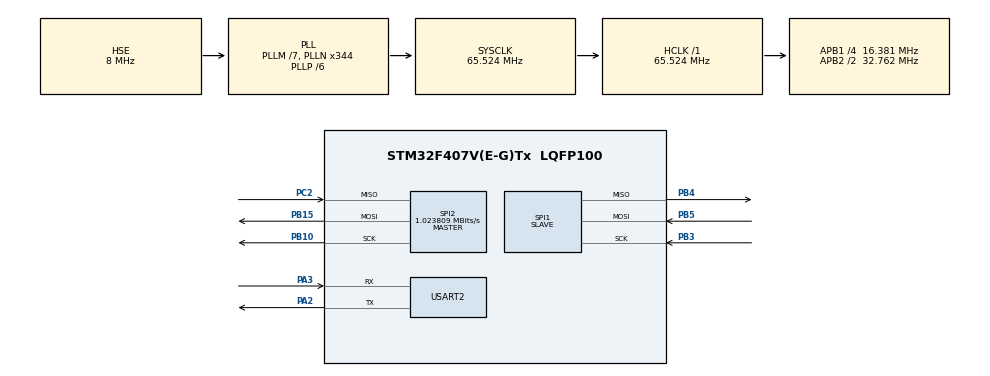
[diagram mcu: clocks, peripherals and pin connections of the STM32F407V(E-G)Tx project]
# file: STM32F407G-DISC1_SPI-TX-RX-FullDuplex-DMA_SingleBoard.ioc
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Dma.Request0=SPI2_RX
Dma.Request1=SPI2_TX
Dma.Request2=SPI1_TX
Dma.Request3=SPI1_RX
Dma.SPI1_RX.3.Direction=DMA_PERIPH_TO_MEMORY
Dma.SPI1_RX.3.FIFOMode=DMA_FIFOMODE_DISABLE
Dma.SPI1_RX.3.Instance=DMA2_Stream0
Dma.SPI1_RX.3.MemDataAlignment=DMA_MDATAALIGN_BYTE
Dma.SPI1_RX.3.MemInc=DMA_MINC_ENABLE
Dma.SPI1_RX.3.Mode=DMA_NORMAL
Dma.SPI1_RX.3.PeriphDataAlignment=DMA_PDATAALIGN_BYTE
Dma.SPI1_RX.3.PeriphInc=DMA_PINC_DISABLE
Dma.SPI1_RX.3.Priority=DMA_PRIORITY_MEDIUM
Dma.SPI1_TX.2.Direction=DMA_MEMORY_TO_PERIPH
Dma.SPI1_TX.2.FIFOMode=DMA_FIFOMODE_DISABLE
Dma.SPI1_TX.2.Instance=DMA2_Stream3
Dma.SPI1_TX.2.MemDataAlignment=DMA_MDATAALIGN_BYTE
Dma.SPI1_TX.2.MemInc=DMA_MINC_ENABLE
Dma.SPI1_TX.2.Mode=DMA_NORMAL
Dma.SPI1_TX.2.PeriphDataAlignment=DMA_PDATAALIGN_BYTE
Dma.SPI1_TX.2.PeriphInc=DMA_PINC_DISABLE
Dma.SPI1_TX.2.Priority=DMA_PRIORITY_LOW
Dma.SPI2_RX.0.Direction=DMA_PERIPH_TO_MEMORY
Dma.SPI2_RX.0.FIFOMode=DMA_FIFOMODE_DISABLE
Dma.SPI2_RX.0.Instance=DMA1_Stream3
Dma.SPI2_RX.0.MemDataAlignment=DMA_MDATAALIGN_BYTE
Dma.SPI2_RX.0.MemInc=DMA_MINC_ENABLE
Dma.SPI2_RX.0.Mode=DMA_NORMAL
Dma.SPI2_RX.0.PeriphDataAlignment=DMA_PDATAALIGN_BYTE
Dma.SPI2_RX.0.PeriphInc=DMA_PINC_DISABLE
Dma.SPI2_RX.0.Priority=DMA_PRIORITY_MEDIUM
Dma.SPI2_TX.1.Direction=DMA_MEMORY_TO_PERIPH
Dma.SPI2_TX.1.FIFOMode=DMA_FIFOMODE_DISABLE
Dma.SPI2_TX.1.Instance=DMA1_Stream4
Dma.SPI2_TX.1.MemDataAlignment=DMA_MDATAALIGN_BYTE
Dma.SPI2_TX.1.MemInc=DMA_MINC_ENABLE
Dma.SPI2_TX.1.Mode=DMA_NORMAL
Dma.SPI2_TX.1.PeriphDataAlignment=DMA_PDATAALIGN_BYTE
Dma.SPI2_TX.1.PeriphInc=DMA_PINC_DISABLE
Dma.SPI2_TX.1.Priority=DMA_PRIORITY_LOW
Mcu.Family=STM32F4
Mcu.Name=STM32F407V(E-G)Tx
Mcu.Package=LQFP100
NVIC.DMA1_Stream3_IRQn=true\:0\:0\:false\:false\:true\:false\:true
NVIC.DMA1_Stream4_IRQn=true\:0\:0\:false\:false\:true\:false\:true
NVIC.DMA2_Stream0_IRQn=true\:0\:0\:false\:false\:true\:false\:true
NVIC.DMA2_Stream3_IRQn=true\:0\:0\:false\:false\:true\:false\:true
NVIC.PriorityGroup=NVIC_PRIORITYGROUP_0
PA13.Mode=Serial_Wire
PA13.Signal=SYS_JTMS-SWDIO
PA14.Mode=Serial_Wire
PA14.Signal=SYS_JTCK-SWCLK
PA2.Mode=Asynchronous
PA2.Signal=USART2_TX
PA3.Mode=Asynchronous
PA3.Signal=USART2_RX
PB10.GPIO_Speed=GPIO_SPEED_FREQ_LOW
PB10.Mode=Full_Duplex_Master
PB10.Signal=SPI2_SCK
PB15.GPIO_Speed=GPIO_SPEED_FREQ_LOW
PB15.Mode=Full_Duplex_Master
PB15.Signal=SPI2_MOSI
PB3.GPIO_Speed=GPIO_SPEED_FREQ_LOW
PB3.Mode=Full_Duplex_Slave
PB3.Signal=SPI1_SCK
PB4.GPIO_Speed=GPIO_SPEED_FREQ_LOW
PB4.Mode=Full_Duplex_Slave
PB4.Signal=SPI1_MISO
PB5.GPIO_Speed=GPIO_SPEED_FREQ_LOW
PB5.Mode=Full_Duplex_Slave
PB5.Signal=SPI1_MOSI
PC2.GPIO_Speed=GPIO_SPEED_FREQ_LOW
PC2.Mode=Full_Duplex_Master
PC2.Signal=SPI2_MISO
PH0-OSC_IN.Mode=HSE-External-Oscillator
PH0-OSC_IN.Signal=RCC_OSC_IN
PH1-OSC_OUT.Mode=HSE-External-Oscillator
PH1-OSC_OUT.Signal=RCC_OSC_OUT
ProjectManager.HeapSize=0x200
ProjectManager.StackSize=0x400
ProjectManager.TargetToolchain=STM32CubeIDE
RCC.48MHZClocksFreq_Value=56163265.30612246
RCC.AHBFreq_Value=65523809.52380953
RCC.APB1CLKDivider=RCC_HCLK_DIV4
RCC.APB1Freq_Value=16380952.380952382
RCC.APB1TimFreq_Value=32761904.761904765
RCC.APB2CLKDivider=RCC_HCLK_DIV2
RCC.APB2Freq_Value=32761904.761904765
RCC.APB2TimFreq_Value=65523809.52380953
RCC.CortexFreq_Value=65523809.52380953
RCC.HCLKFreq_Value=65523809.52380953
RCC.HSE_VALUE=8000000
RCC.HSI_VALUE=16000000
RCC.LSE_VALUE=32768
RCC.PLLM=7
RCC.PLLN=344
RCC.PLLP=RCC_PLLP_DIV6
RCC.PLLQ=7
RCC.PLLSourceVirtual=RCC_PLLSOURCE_HSE
RCC.SYSCLKFreq_VALUE=65523809.52380953
RCC.SYSCLKSource=RCC_SYSCLKSOURCE_PLLCLK
RCC.VCOOutputFreq_Value=393142857.1428572
SPI1.Direction=SPI_DIRECTION_2LINES
SPI1.Mode=SPI_MODE_SLAVE
SPI1.VirtualType=VM_SLAVE
SPI2.BaudRatePrescaler=SPI_BAUDRATEPRESCALER_16
SPI2.CalculateBaudRate=1.023809 MBits/s
SPI2.Direction=SPI_DIRECTION_2LINES
SPI2.Mode=SPI_MODE_MASTER
SPI2.VirtualType=VM_MASTER
USART2.VirtualMode=VM_ASYNC
board=STM32F407G-DISC1

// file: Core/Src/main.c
/* USER CODE BEGIN Header */
/**
 ******************************************************************************
 * @file           : main.c
 * @brief          : Main program body
 ******************************************************************************
 * @attention
 *
 * <h2><center>&copy; Copyright (c) 2021 STMicroelectronics.
 * All rights reserved.</center></h2>
 *
 * This software component is licensed by ST under Ultimate Liberty license
 * SLA0044, the "License"; You may not use this file except in compliance with
 * the License. You may obtain a copy of the License at:
 *                             www.st.com/SLA0044
 *
 ******************************************************************************
 */
/* USER CODE END Header */
#include "main.h"

/* USER CODE BEGIN Includes */

#include <stdio.h>

/* USER CODE END Includes */

SPI_HandleTypeDef hspi1;
SPI_HandleTypeDef hspi2;
DMA_HandleTypeDef hdma_spi1_tx;
DMA_HandleTypeDef hdma_spi1_rx;
DMA_HandleTypeDef hdma_spi2_rx;
DMA_HandleTypeDef hdma_spi2_tx;

UART_HandleTypeDef huart2;

/* USER CODE BEGIN PV */

uint8_t send_data2[20] = "SPI buffer test";
uint8_t receive_data2[20];

uint8_t send_data1[20] = "SPI buffer test";
uint8_t receive_data1[20];

/* USER CODE END PV */

void SystemClock_Config(void);
static void MX_GPIO_Init(void);
static void MX_USART2_UART_Init(void);
static void MX_DMA_Init(void);
static void MX_SPI2_Init(void);
static void MX_SPI1_Init(void);
/* USER CODE BEGIN PFP */

#define PUTCHAR_PROTOTYPE int __io_putchar(int ch)

/* USER CODE END PFP */

int main(void)
{

  /* MCU Configuration--------------------------------------------------------*/

  /* Reset of all peripherals, Initializes the Flash interface and the Systick. */
  HAL_Init();

  /* Configure the system clock */
  SystemClock_Config();

  /* Initialize all configured peripherals */
  MX_GPIO_Init();
  MX_USART2_UART_Init();
  MX_DMA_Init();
  MX_SPI2_Init();
  MX_SPI1_Init();
  /* USER CODE BEGIN 2 */

  printf("Starting >> STM32F407G-DISC1_SPI-TX-RX-DMA_SingleBoard \n");

  for(uint16_t cntr = 0; cntr < 20; cntr++)
	  send_data2[cntr] = cntr;

  for(uint16_t cntr = 0; cntr < 20; cntr++)
	  send_data1[cntr] = cntr;

  //	HAL_SPI_Receive_DMA(&hspi2, receive_data, 5);

  HAL_SPI_TransmitReceive_DMA(&hspi1, send_data1, receive_data1, 20);
  HAL_SPI_TransmitReceive_DMA(&hspi2, send_data2, receive_data2, 20);

  //	HAL_SPI_Transmit_DMA(&hspi2, receive_data, 5);

  HAL_Delay(100);

  printf("Ending >> STM32F407G-DISC1_SPI-TX-RX-DMA_SingleBoard \n");

  /* USER CODE END 2 */

  /* Infinite loop */
	while (1)
	{

	}
}

void SystemClock_Config(void)
{
  RCC_OscInitTypeDef RCC_OscInitStruct = {0};
  RCC_ClkInitTypeDef RCC_ClkInitStruct = {0};

  /** Configure the main internal regulator output voltage
  */
  __HAL_RCC_PWR_CLK_ENABLE();
  __HAL_PWR_VOLTAGESCALING_CONFIG(PWR_REGULATOR_VOLTAGE_SCALE1);
  /** Initializes the RCC Oscillators according to the specified parameters
  * in the RCC_OscInitTypeDef structure.
  */
  RCC_OscInitStruct.OscillatorType = RCC_OSCILLATORTYPE_HSE;
  RCC_OscInitStruct.HSEState = RCC_HSE_ON;
  RCC_OscInitStruct.PLL.PLLState = RCC_PLL_ON;
  RCC_OscInitStruct.PLL.PLLSource = RCC_PLLSOURCE_HSE;
  RCC_OscInitStruct.PLL.PLLM = 7;
  RCC_OscInitStruct.PLL.PLLN = 344;
  RCC_OscInitStruct.PLL.PLLP = RCC_PLLP_DIV6;
  RCC_OscInitStruct.PLL.PLLQ = 7;
  if (HAL_RCC_OscConfig(&RCC_OscInitStruct) != HAL_OK)
  {
    Error_Handler();
  }
  /** Initializes the CPU, AHB and APB buses clocks
  */
  RCC_ClkInitStruct.ClockType = RCC_CLOCKTYPE_HCLK|RCC_CLOCKTYPE_SYSCLK
                              |RCC_CLOCKTYPE_PCLK1|RCC_CLOCKTYPE_PCLK2;
  RCC_ClkInitStruct.SYSCLKSource = RCC_SYSCLKSOURCE_PLLCLK;
  RCC_ClkInitStruct.AHBCLKDivider = RCC_SYSCLK_DIV1;
  RCC_ClkInitStruct.APB1CLKDivider = RCC_HCLK_DIV4;
  RCC_ClkInitStruct.APB2CLKDivider = RCC_HCLK_DIV2;

  if (HAL_RCC_ClockConfig(&RCC_ClkInitStruct, FLASH_LATENCY_2) != HAL_OK)
  {
    Error_Handler();
  }
}

static void MX_SPI1_Init(void)
{

  /* SPI1 parameter configuration*/
  hspi1.Instance = SPI1;
  hspi1.Init.Mode = SPI_MODE_SLAVE;
  hspi1.Init.Direction = SPI_DIRECTION_2LINES;
  hspi1.Init.DataSize = SPI_DATASIZE_8BIT;
  hspi1.Init.CLKPolarity = SPI_POLARITY_LOW;
  hspi1.Init.CLKPhase = SPI_PHASE_1EDGE;
  hspi1.Init.NSS = SPI_NSS_SOFT;
  hspi1.Init.FirstBit = SPI_FIRSTBIT_MSB;
  hspi1.Init.TIMode = SPI_TIMODE_DISABLE;
  hspi1.Init.CRCCalculation = SPI_CRCCALCULATION_DISABLE;
  hspi1.Init.CRCPolynomial = 10;
  if (HAL_SPI_Init(&hspi1) != HAL_OK)
  {
    Error_Handler();
  }

}

static void MX_SPI2_Init(void)
{

  /* SPI2 parameter configuration*/
  hspi2.Instance = SPI2;
  hspi2.Init.Mode = SPI_MODE_MASTER;
  hspi2.Init.Direction = SPI_DIRECTION_2LINES;
  hspi2.Init.DataSize = SPI_DATASIZE_8BIT;
  hspi2.Init.CLKPolarity = SPI_POLARITY_LOW;
  hspi2.Init.CLKPhase = SPI_PHASE_1EDGE;
  hspi2.Init.NSS = SPI_NSS_SOFT;
  hspi2.Init.BaudRatePrescaler = SPI_BAUDRATEPRESCALER_16;
  hspi2.Init.FirstBit = SPI_FIRSTBIT_MSB;
  hspi2.Init.TIMode = SPI_TIMODE_DISABLE;
  hspi2.Init.CRCCalculation = SPI_CRCCALCULATION_DISABLE;
  hspi2.Init.CRCPolynomial = 10;
  if (HAL_SPI_Init(&hspi2) != HAL_OK)
  {
    Error_Handler();
  }

}

static void MX_USART2_UART_Init(void)
{

  huart2.Instance = USART2;
  huart2.Init.BaudRate = 115200;
  huart2.Init.WordLength = UART_WORDLENGTH_8B;
  huart2.Init.StopBits = UART_STOPBITS_1;
  huart2.Init.Parity = UART_PARITY_NONE;
  huart2.Init.Mode = UART_MODE_TX_RX;
  huart2.Init.HwFlowCtl = UART_HWCONTROL_NONE;
  huart2.Init.OverSampling = UART_OVERSAMPLING_16;
  if (HAL_UART_Init(&huart2) != HAL_OK)
  {
    Error_Handler();
  }

}

static void MX_DMA_Init(void)
{

  /* DMA controller clock enable */
  __HAL_RCC_DMA1_CLK_ENABLE();
  __HAL_RCC_DMA2_CLK_ENABLE();

  /* DMA interrupt init */
  /* DMA1_Stream3_IRQn interrupt configuration */
  HAL_NVIC_SetPriority(DMA1_Stream3_IRQn, 0, 0);
  HAL_NVIC_EnableIRQ(DMA1_Stream3_IRQn);
  /* DMA1_Stream4_IRQn interrupt configuration */
  HAL_NVIC_SetPriority(DMA1_Stream4_IRQn, 0, 0);
  HAL_NVIC_EnableIRQ(DMA1_Stream4_IRQn);
  /* DMA2_Stream0_IRQn interrupt configuration */
  HAL_NVIC_SetPriority(DMA2_Stream0_IRQn, 0, 0);
  HAL_NVIC_EnableIRQ(DMA2_Stream0_IRQn);
  /* DMA2_Stream3_IRQn interrupt configuration */
  HAL_NVIC_SetPriority(DMA2_Stream3_IRQn, 0, 0);
  HAL_NVIC_EnableIRQ(DMA2_Stream3_IRQn);

}

static void MX_GPIO_Init(void)
{

  /* GPIO Ports Clock Enable */
  __HAL_RCC_GPIOH_CLK_ENABLE();
  __HAL_RCC_GPIOC_CLK_ENABLE();
  __HAL_RCC_GPIOA_CLK_ENABLE();
  __HAL_RCC_GPIOB_CLK_ENABLE();

}

/* USER CODE BEGIN 4 */

PUTCHAR_PROTOTYPE
{
	/* Place your implementation of fputc here */
	/* e.g. write a character to the LPUART1 and Loop until the end of transmission */
	HAL_UART_Transmit(&huart2, (uint8_t *)&ch, 1, 0xFFFF);

	return ch;
}

void HAL_SPI_RxCpltCallback(SPI_HandleTypeDef *hspi)
{
	UNUSED(hspi);

	printf("HAL_SPI_RxCpltCallback \n");
}

void HAL_SPI_RxHalfCpltCallback(SPI_HandleTypeDef *hspi)
{
	UNUSED(hspi);

	printf("HAL_SPI_RxHalfCpltCallback \n");
}

void HAL_SPI_TxCpltCallback(SPI_HandleTypeDef *hspi)
{
	UNUSED(hspi);

	printf("HAL_SPI_TxCpltCallback \n");
}

void HAL_SPI_TxHalfCpltCallback(SPI_HandleTypeDef *hspi)
{
	UNUSED(hspi);

	printf("HAL_SPI_TxHalfCpltCallback \n");
}

void HAL_SPI_TxRxCpltCallback(SPI_HandleTypeDef *hspi)
{
	UNUSED(hspi);

	printf("HAL_SPI_TxRxCpltCallback \n");
}

void HAL_SPI_TxRxHalfCpltCallback(SPI_HandleTypeDef *hspi)
{
	UNUSED(hspi);

	printf("HAL_SPI_TxRxHalfCpltCallback \n");
}

void HAL_SPI_ErrorCallback(SPI_HandleTypeDef *hspi)
{
	UNUSED(hspi);

	printf("HAL_SPI_ErrorCallback : Error code %d \n", hspi->ErrorCode);

}

/* USER CODE END 4 */

void Error_Handler(void)
{
  /* USER CODE BEGIN Error_Handler_Debug */
	/* User can add his own implementation to report the HAL error return state */
	printf("Error_Handler \n");
	__disable_irq();
	while (1)
	{
	}
  /* USER CODE END Error_Handler_Debug */
}

/************************ (C) COPYRIGHT STMicroelectronics *****END OF FILE****/
